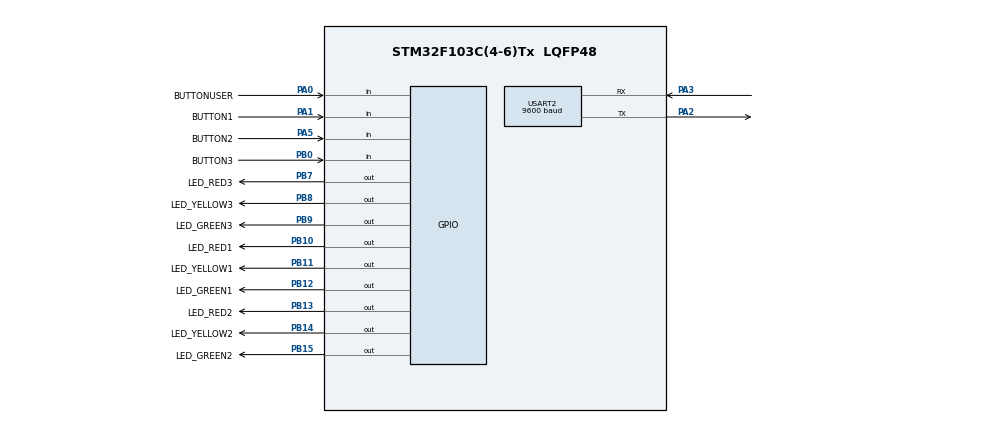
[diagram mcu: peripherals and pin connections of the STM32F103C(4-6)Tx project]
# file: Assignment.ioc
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Mcu.Family=STM32F1
Mcu.Name=STM32F103C(4-6)Tx
Mcu.Package=LQFP48
NVIC.PriorityGroup=NVIC_PRIORITYGROUP_4
NVIC.TIM2_IRQn=true\:0\:0\:false\:false\:true\:true\:true\:true
NVIC.USART2_IRQn=true\:0\:0\:false\:false\:true\:true\:true\:true
PA0-WKUP.GPIO_Label=BUTTONUSER
PA0-WKUP.GPIO_PuPd=GPIO_PULLUP
PA0-WKUP.Signal=GPIO_Input
PA1.GPIO_Label=BUTTON1
PA1.GPIO_PuPd=GPIO_PULLUP
PA1.Signal=GPIO_Input
PA2.Mode=Asynchronous
PA2.Signal=USART2_TX
PA3.Mode=Asynchronous
PA3.Signal=USART2_RX
PA5.GPIO_Label=BUTTON2
PA5.GPIO_PuPd=GPIO_PULLUP
PA5.Signal=GPIO_Input
PB0.GPIO_Label=BUTTON3
PB0.GPIO_PuPd=GPIO_PULLUP
PB0.Signal=GPIO_Input
PB10.GPIO_Label=LED_RED1
PB10.Signal=GPIO_Output
PB11.GPIO_Label=LED_YELLOW1
PB11.Signal=GPIO_Output
PB12.GPIO_Label=LED_GREEN1
PB12.Signal=GPIO_Output
PB13.GPIO_Label=LED_RED2
PB13.Signal=GPIO_Output
PB14.GPIO_Label=LED_YELLOW2
PB14.Signal=GPIO_Output
PB15.GPIO_Label=LED_GREEN2
PB15.Signal=GPIO_Output
PB7.GPIO_Label=LED_RED3
PB7.Signal=GPIO_Output
PB8.GPIO_Label=LED_YELLOW3
PB8.Signal=GPIO_Output
PB9.GPIO_Label=LED_GREEN3
PB9.Signal=GPIO_Output
ProjectManager.HeapSize=0x200
ProjectManager.StackSize=0x400
ProjectManager.TargetToolchain=STM32CubeIDE
RCC.APB1Freq_Value=8000000
RCC.APB2Freq_Value=8000000
TIM2.Period=9
TIM2.Prescaler=7999
USART2.BaudRate=9600
USART2.VirtualMode=VM_ASYNC
VP_TIM2_VS_ClockSourceINT.Mode=Internal
board=custom

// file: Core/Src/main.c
/* USER CODE BEGIN Header */
/**
  ******************************************************************************
  * @file           : main.c
  * @brief          : Main program body
  ******************************************************************************
  * @attention
  *
  * Copyright (c) 2022 STMicroelectronics.
  * All rights reserved.
  *
  * This software is licensed under terms that can be found in the LICENSE file
  * in the root directory of this software component.
  * If no LICENSE file comes with this software, it is provided AS-IS.
  *
  ******************************************************************************
  */
/* USER CODE END Header */
#include "main.h"

/* USER CODE BEGIN Includes */
//#include "LED_TOGGLE.h"
#include "fsm_manual.h"
//#include "global.h"
#include "traffic_timer.h"
#include "stdio.h"
/* USER CODE END Includes */

TIM_HandleTypeDef htim2;

UART_HandleTypeDef huart2;

void SystemClock_Config(void);
static void MX_GPIO_Init(void);
static void MX_TIM2_Init(void);
static void MX_USART2_UART_Init(void);

int main(void)
{

  /* MCU Configuration--------------------------------------------------------*/

  /* Reset of all peripherals, Initializes the Flash interface and the Systick. */
  HAL_Init();

  /* Configure the system clock */
  SystemClock_Config();

  /* Initialize all configured peripherals */
  MX_GPIO_Init();
  MX_TIM2_Init();
  MX_USART2_UART_Init();
  /* USER CODE BEGIN 2 */
  HAL_TIM_Base_Start_IT(&htim2);

  /* USER CODE END 2 */

  /* Infinite loop */
  /* USER CODE BEGIN WHILE */

  //Set up for Pedestrian
  int userButton = 0;
  LED3_OFF();

  //Set up for start
  setTimer1(250);
  int one_sec= 3;

  while (1)
  {
	  //All about FSM
	  fsm_manual_run();		//manual fsm
	  light_control_1();	//fsm for traffic light 1
	  light_control_2();	//fsm for traffic light 2

	  if (isButton4Pressed()){		// Pedestrian pressed
		  userButton = 1;
		  setTimer5(10000);
	  }
	  if (timer5_flag == 1){		// Time out
		  userButton = 0;
		  LED3_OFF();
	  }

	  if (timer1_flag == 1){		// One duration blinky 250ms
		 setTimer1(250);

		 one_sec++;
		 if (one_sec == 4){
			one_sec = 0;
			int time = timer2_counter/100;
			char str[100];
			HAL_UART_Transmit(&huart2,(uint8_t*) str, sprintf(str, "!7SEG: %d#\r\n",time), 1000);
		 }

		  //Cum den 1
		  if (RED1_flag){
			  RED1_TOGGLE();
		  }
		  else if(YELLOW1_flag){
			  YELLOW1_TOGGLE();
		  }
		  else if(GREEN1_flag){
			  GREEN1_TOGGLE();
		  }

		  //Cum den 2
		  if(RED2_flag){
			  RED2_TOGGLE();
			  if (userButton) RED3_TOGGLE();
		  }
		  else if(YELLOW2_flag){
			  YELLOW2_TOGGLE();
			  if (userButton) YELLOW3_TOGGLE();
		  }
		  else if(GREEN2_flag){
			  GREEN2_TOGGLE();
			  if (userButton) GREEN3_TOGGLE();
		  }

		  // print if change mode (pressed button 1)
		  if (checkprint == 1){
			  checkprint = 0;
			  if (status_man == MAN_RED){
				  char str2[100];
				  HAL_UART_Transmit(&huart2,(uint8_t*) str2, sprintf(str2, "!RED MODE----#\r\n"), 1000);
			  }
			  else if (status_man == MAN_YELLOW){
				  char str2[100];
				  HAL_UART_Transmit(&huart2,(uint8_t*) str2, sprintf(str2, "!YELLOW MODE----#\r\n"), 1000);
			  }
			  else if (status_man == MAN_GREEN){
				  char str2[100];
				  HAL_UART_Transmit(&huart2,(uint8_t*) str2, sprintf(str2, "!GREEN MODE----#\r\n"), 1000);
			  }
		  	  else if (status_man == INIT){
		  		  char str2[100];
		  		  HAL_UART_Transmit(&huart2,(uint8_t*) str2, sprintf(str2, "!AUTO MODE----#\r\n"), 1000);
		  	  }
		  }

	  }

    /* USER CODE END WHILE */

  }
}

void SystemClock_Config(void)
{
  RCC_OscInitTypeDef RCC_OscInitStruct = {0};
  RCC_ClkInitTypeDef RCC_ClkInitStruct = {0};

  /** Initializes the RCC Oscillators according to the specified parameters
  * in the RCC_OscInitTypeDef structure.
  */
  RCC_OscInitStruct.OscillatorType = RCC_OSCILLATORTYPE_HSI;
  RCC_OscInitStruct.HSIState = RCC_HSI_ON;
  RCC_OscInitStruct.HSICalibrationValue = RCC_HSICALIBRATION_DEFAULT;
  RCC_OscInitStruct.PLL.PLLState = RCC_PLL_NONE;
  if (HAL_RCC_OscConfig(&RCC_OscInitStruct) != HAL_OK)
  {
    Error_Handler();
  }

  /** Initializes the CPU, AHB and APB buses clocks
  */
  RCC_ClkInitStruct.ClockType = RCC_CLOCKTYPE_HCLK|RCC_CLOCKTYPE_SYSCLK
                              |RCC_CLOCKTYPE_PCLK1|RCC_CLOCKTYPE_PCLK2;
  RCC_ClkInitStruct.SYSCLKSource = RCC_SYSCLKSOURCE_HSI;
  RCC_ClkInitStruct.AHBCLKDivider = RCC_SYSCLK_DIV1;
  RCC_ClkInitStruct.APB1CLKDivider = RCC_HCLK_DIV1;
  RCC_ClkInitStruct.APB2CLKDivider = RCC_HCLK_DIV1;

  if (HAL_RCC_ClockConfig(&RCC_ClkInitStruct, FLASH_LATENCY_0) != HAL_OK)
  {
    Error_Handler();
  }
}

static void MX_TIM2_Init(void)
{

  TIM_ClockConfigTypeDef sClockSourceConfig = {0};
  TIM_MasterConfigTypeDef sMasterConfig = {0};

  htim2.Instance = TIM2;
  htim2.Init.Prescaler = 7999;
  htim2.Init.CounterMode = TIM_COUNTERMODE_UP;
  htim2.Init.Period = 9;
  htim2.Init.ClockDivision = TIM_CLOCKDIVISION_DIV1;
  htim2.Init.AutoReloadPreload = TIM_AUTORELOAD_PRELOAD_DISABLE;
  if (HAL_TIM_Base_Init(&htim2) != HAL_OK)
  {
    Error_Handler();
  }
  sClockSourceConfig.ClockSource = TIM_CLOCKSOURCE_INTERNAL;
  if (HAL_TIM_ConfigClockSource(&htim2, &sClockSourceConfig) != HAL_OK)
  {
    Error_Handler();
  }
  sMasterConfig.MasterOutputTrigger = TIM_TRGO_RESET;
  sMasterConfig.MasterSlaveMode = TIM_MASTERSLAVEMODE_DISABLE;
  if (HAL_TIMEx_MasterConfigSynchronization(&htim2, &sMasterConfig) != HAL_OK)
  {
    Error_Handler();
  }

}

static void MX_USART2_UART_Init(void)
{

  huart2.Instance = USART2;
  huart2.Init.BaudRate = 9600;
  huart2.Init.WordLength = UART_WORDLENGTH_8B;
  huart2.Init.StopBits = UART_STOPBITS_1;
  huart2.Init.Parity = UART_PARITY_NONE;
  huart2.Init.Mode = UART_MODE_TX_RX;
  huart2.Init.HwFlowCtl = UART_HWCONTROL_NONE;
  huart2.Init.OverSampling = UART_OVERSAMPLING_16;
  if (HAL_UART_Init(&huart2) != HAL_OK)
  {
    Error_Handler();
  }

}

static void MX_GPIO_Init(void)
{
  GPIO_InitTypeDef GPIO_InitStruct = {0};

  /* GPIO Ports Clock Enable */
  __HAL_RCC_GPIOA_CLK_ENABLE();
  __HAL_RCC_GPIOB_CLK_ENABLE();

  /*Configure GPIO pin Output Level */
  HAL_GPIO_WritePin(GPIOB, LED_RED1_Pin|LED_YELLOW1_Pin|LED_GREEN1_Pin|LED_RED2_Pin
                          |LED_YELLOW2_Pin|LED_GREEN2_Pin|LED_RED3_Pin|LED_YELLOW3_Pin
                          |LED_GREEN3_Pin, GPIO_PIN_RESET);

  /*Configure GPIO pins : BUTTONUSER_Pin BUTTON1_Pin BUTTON2_Pin */
  GPIO_InitStruct.Pin = BUTTONUSER_Pin|BUTTON1_Pin|BUTTON2_Pin;
  GPIO_InitStruct.Mode = GPIO_MODE_INPUT;
  GPIO_InitStruct.Pull = GPIO_PULLUP;
  HAL_GPIO_Init(GPIOA, &GPIO_InitStruct);

  /*Configure GPIO pin : BUTTON3_Pin */
  GPIO_InitStruct.Pin = BUTTON3_Pin;
  GPIO_InitStruct.Mode = GPIO_MODE_INPUT;
  GPIO_InitStruct.Pull = GPIO_PULLUP;
  HAL_GPIO_Init(BUTTON3_GPIO_Port, &GPIO_InitStruct);

  /*Configure GPIO pins : LED_RED1_Pin LED_YELLOW1_Pin LED_GREEN1_Pin LED_RED2_Pin
                           LED_YELLOW2_Pin LED_GREEN2_Pin LED_RED3_Pin LED_YELLOW3_Pin
                           LED_GREEN3_Pin */
  GPIO_InitStruct.Pin = LED_RED1_Pin|LED_YELLOW1_Pin|LED_GREEN1_Pin|LED_RED2_Pin
                          |LED_YELLOW2_Pin|LED_GREEN2_Pin|LED_RED3_Pin|LED_YELLOW3_Pin
                          |LED_GREEN3_Pin;
  GPIO_InitStruct.Mode = GPIO_MODE_OUTPUT_PP;
  GPIO_InitStruct.Pull = GPIO_NOPULL;
  GPIO_InitStruct.Speed = GPIO_SPEED_FREQ_LOW;
  HAL_GPIO_Init(GPIOB, &GPIO_InitStruct);

}

/* USER CODE BEGIN 4 */

void HAL_TIM_PeriodElapsedCallback(TIM_HandleTypeDef *htim){
	timerRun();
	getKeyInput1();
	getKeyInput2();
	getKeyInput3();
	getKeyInput4();

}

/* USER CODE END 4 */

void Error_Handler(void)
{
  __disable_irq();
  while (1)
  {
  }
}
